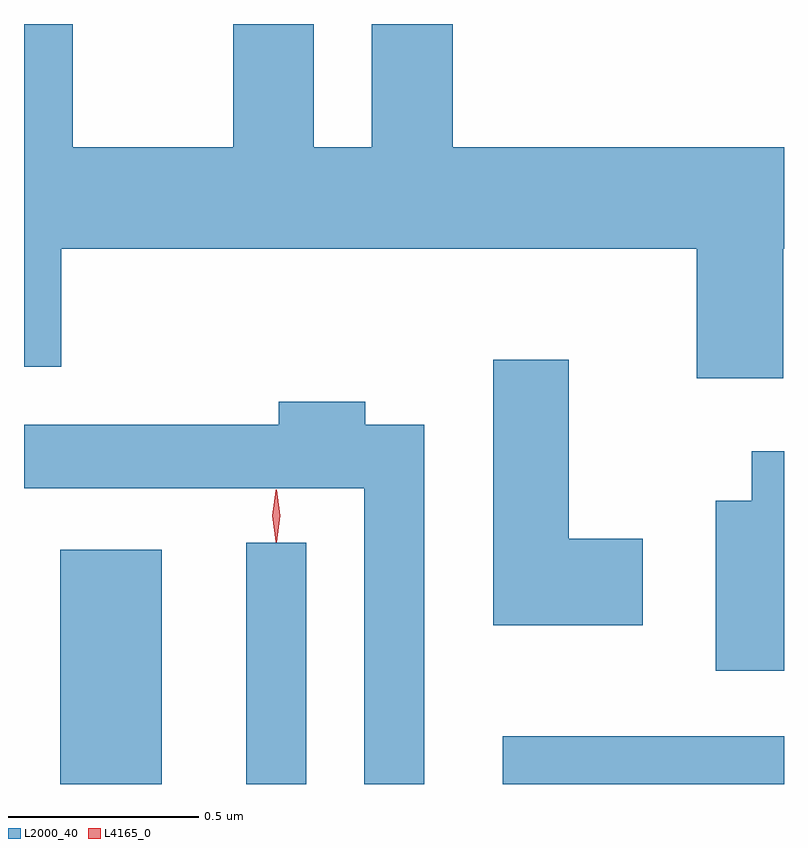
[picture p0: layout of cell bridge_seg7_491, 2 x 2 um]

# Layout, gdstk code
import gdstk
lib = gdstk.Library(unit=1e-6, precision=1e-09)
def R(c, l, rs):  # rectangles x0, y0, x1, y1
    for r in rs: c.add(gdstk.rectangle(r[:2], r[2:], *l))
def P(c, l, *ps):  # polygons
    for p in ps: c.add(gdstk.Polygon(p, *l))
L2000_40 = (2000, 40)
L4165_0 = (4165, 0)

bridge_seg7_491 = lib.new_cell('bridge_seg7_491')
R(bridge_seg7_491, L2000_40, [(1130.646,1670.728,1130.914,1671.344), (1131.136,1670.728,1131.294,1671.363), (1131.811,1670.728,1132.551,1670.854)])
P(bridge_seg7_491, L2000_40, [(1132.549,1672.136),(1132.551,1672.136),(1132.551,1672.404),(1131.679,1672.404),(1131.679,1672.728),(1131.466,1672.728),(1131.466,1672.404),(1131.314,1672.404),(1131.314,1672.728),(1131.101,1672.728),(1131.101,1672.404),(1130.679,1672.404),(1130.679,1672.728),(1130.551,1672.728),(1130.551,1671.826),(1130.649,1671.826),(1130.649,1672.136),(1132.321,1672.136),(1132.321,1671.796),(1132.549,1671.796)],
  [(1132.179,1671.374),(1131.984,1671.374),(1131.984,1671.844),(1131.786,1671.844),(1131.786,1671.146),(1132.179,1671.146)],
  [(1131.604,1671.674),(1131.449,1671.674),(1131.449,1671.734),(1131.221,1671.734),(1131.221,1671.674),(1130.551,1671.674),(1130.551,1671.506),(1131.446,1671.506),(1131.446,1670.728),(1131.604,1670.728)],
  [(1132.551,1671.604),(1132.466,1671.604),(1132.466,1671.474),(1132.371,1671.474),(1132.371,1671.026),(1132.551,1671.026)])
P(bridge_seg7_491, L4165_0, [(1131.213,1671.367),(1131.204,1671.434),(1131.213,1671.5),(1131.214,1671.5),(1131.214,1671.5),(1131.224,1671.434),(1131.214,1671.367),(1131.214,1671.367)],
  [(1131.214,1671.364),(1131.205,1671.434),(1131.214,1671.502),(1131.215,1671.503),(1131.216,1671.502),(1131.225,1671.434),(1131.216,1671.364),(1131.215,1671.364)])

lib.write_gds('bridge_seg7_491.gds')
